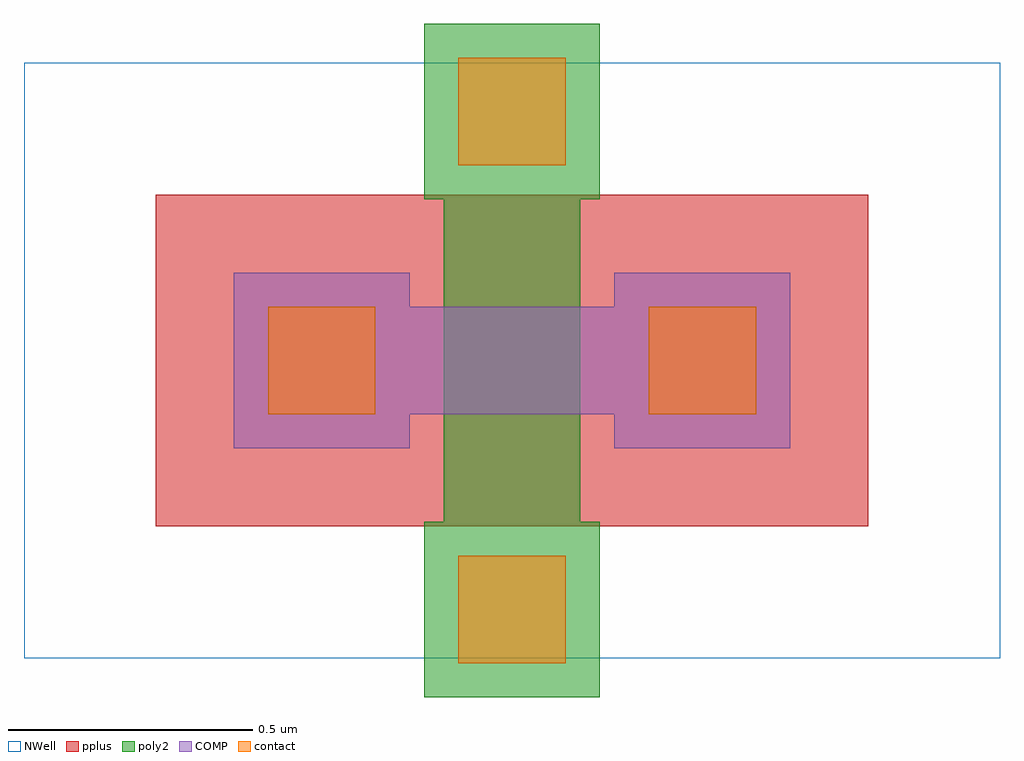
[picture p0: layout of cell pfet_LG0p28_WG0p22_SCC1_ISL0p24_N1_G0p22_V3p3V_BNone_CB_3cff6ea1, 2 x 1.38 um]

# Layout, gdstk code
import gdstk
lib = gdstk.Library(unit=1e-6, precision=1e-09)
def R(c, l, rs):  # rectangles x0, y0, x1, y1
    for r in rs: c.add(gdstk.rectangle(r[:2], r[2:], *l))
NWell = (21, 0)
COMP = (22, 0)
poly2 = (30, 0)
pplus = (31, 0)
contact = (33, 0)

labels_gen_lsnone_pm0p18 = lib.new_cell('labels_gen_LSNone_Pm0p18_0p10999999999999999_Lmetal1_la_6b226d65')

labels_gen_lsnone_p0p600 = lib.new_cell('labels_gen_LSNone_P0p6000000000000001_0p109999999999999_6b8aa2ab')

labels_gen_lsnone_p0p21_ = lib.new_cell('labels_gen_LSNone_P0p21_m0p39999999999999997_Lmetal1_la_8df92a8a')

rectangle_gdsfactorypcom = lib.new_cell('rectangle_gdsfactorypcomponentspshapesprectangle_S0p420_e953cc90')
R(rectangle_gdsfactorypcom, COMP, [(0,0,0.42,0.22)])

c_rectangle_gdsfactorypcom = lib.new_cell('rectangle_gdsfactorypcomponentspshapesprectangle_S0p36__a1e2f17b')
R(c_rectangle_gdsfactorypcom, COMP, [(0,0,0.36,0.36)])

c_rectangle_gdsfactorypcom_ = lib.new_cell('rectangle_gdsfactorypcomponentspshapesprectangle_S0p22__bfea7709')
R(c_rectangle_gdsfactorypcom_, contact, [(0,0,0.22,0.22)])

via_generator_xrm0p36_0_ = lib.new_cell('via_generator_XRm0p36_0_YRm0p07_0p29_VS0p22_0p22_VLcont_60b3f15e')
via_generator_xrm0p36_0_.add(gdstk.Reference(c_rectangle_gdsfactorypcom_, (-0.29,0)))

c_rectangle_gdsfactorypcom__ = lib.new_cell('rectangle_gdsfactorypcomponentspshapesprectangle_S0p339_7cf635e5')
R(c_rectangle_gdsfactorypcom__, COMP, [(0,0,0.34,0.34)])

via_stack_xrm0p36_0_yrm0 = lib.new_cell('via_stack_XRm0p36_0_YRm0p07_0p29_ML1_CS0p22_0p22_CE0p07_330c0f76')
via_stack_xrm0p36_0_yrm0.add(gdstk.Reference(via_generator_xrm0p36_0_, (0,0)))
via_stack_xrm0p36_0_yrm0.add(gdstk.Reference(c_rectangle_gdsfactorypcom__, (-0.35,-0.06)))

c_rectangle_gdsfactorypcom___ = lib.new_cell('rectangle_gdsfactorypcomponentspshapesprectangle_S0p28__432ff8e8')
R(c_rectangle_gdsfactorypcom___, poly2, [(0,0,0.28,0.66)])

c_rectangle_gdsfactorypcom____ = lib.new_cell('rectangle_gdsfactorypcomponentspshapesprectangle_S0p360_c50b099a')
R(c_rectangle_gdsfactorypcom____, poly2, [(0,0,0.36,0.36)])

via_generator_xr0_0p36_y = lib.new_cell('via_generator_XR0_0p36_YR0_0p36_VS0p22_0p22_VLcontact_V_b31f4566')
via_generator_xr0_0p36_y.add(gdstk.Reference(c_rectangle_gdsfactorypcom_, (0.07,0.07)))

c_rectangle_gdsfactorypcom_____ = lib.new_cell('rectangle_gdsfactorypcomponentspshapesprectangle_S0p339_f4050e4b')
R(c_rectangle_gdsfactorypcom_____, poly2, [(0,0,0.34,0.34)])

via_stack_xr0_0p36_yr0_0 = lib.new_cell('via_stack_XR0_0p36_YR0_0p36_ML1_CS0p22_0p22_CE0p07_ME0p_3c6a0a25')
via_stack_xr0_0p36_yr0_0.add(gdstk.Reference(via_generator_xr0_0p36_y, (0,0)))
via_stack_xr0_0p36_yr0_0.add(gdstk.Reference(c_rectangle_gdsfactorypcom_____, (0.01,0.01)))

unnamed_224 = lib.new_cell('Unnamed_224')
unnamed_224.add(gdstk.Reference(c_rectangle_gdsfactorypcom____, (0,0)))
unnamed_224.add(gdstk.Reference(via_stack_xr0_0p36_yr0_0, (0,0)))

c_rectangle_gdsfactorypcom______ = lib.new_cell('rectangle_gdsfactorypcomponentspshapesprectangle_S1p460_596059f5')
R(c_rectangle_gdsfactorypcom______, pplus, [(0,0,1.46,0.68)])

unnamed_223 = lib.new_cell('Unnamed_223')
unnamed_223.add(gdstk.Reference(rectangle_gdsfactorypcom, (0,0)))
r = gdstk.Reference(c_rectangle_gdsfactorypcom, (-0.36,-0.07)); r.repetition = gdstk.Repetition(2, 1, v1=(0.78,0), v2=(0,0)); unnamed_223.add(r)
r = gdstk.Reference(via_stack_xrm0p36_0_yrm0, (0,0)); r.repetition = gdstk.Repetition(2, 1, v1=(0.78,0), v2=(0,0)); unnamed_223.add(r)
unnamed_223.add(gdstk.Reference(c_rectangle_gdsfactorypcom___, (0.07,-0.22)))
r = gdstk.Reference(unnamed_224, (0.03,-0.58)); r.repetition = gdstk.Repetition(1, 2, v1=(0,0), v2=(0,1.02)); unnamed_223.add(r)
unnamed_223.add(gdstk.Reference(c_rectangle_gdsfactorypcom______, (-0.52,-0.23)))

c_rectangle_gdsfactorypcom_______ = lib.new_cell('rectangle_gdsfactorypcomponentspshapesprectangle_S2_1p2_c74ca3fe')
R(c_rectangle_gdsfactorypcom_______, NWell, [(0,0,2,1.22)])

pfet_deep_nwell_d0_p0_es = lib.new_cell('pfet_deep_nwell_D0_P0_ES1p1400000000000001_0p36_EXm0p36_e0c65c09')
pfet_deep_nwell_d0_p0_es.add(gdstk.Reference(c_rectangle_gdsfactorypcom_______, (-0.79,-0.5)))

pfet_lg0p28_wg0p22_scc1_ = lib.new_cell('pfet_LG0p28_WG0p22_SCC1_ISL0p24_N1_G0p22_V3p3V_BNone_CB_3cff6ea1')
pfet_lg0p28_wg0p22_scc1_.add(gdstk.Reference(labels_gen_lsnone_pm0p18, (0,0)))
pfet_lg0p28_wg0p22_scc1_.add(gdstk.Reference(labels_gen_lsnone_p0p600, (0,0)))
pfet_lg0p28_wg0p22_scc1_.add(gdstk.Reference(labels_gen_lsnone_p0p21_, (0,0)))
pfet_lg0p28_wg0p22_scc1_.add(gdstk.Reference(unnamed_223, (0,0)))
pfet_lg0p28_wg0p22_scc1_.add(gdstk.Reference(pfet_deep_nwell_d0_p0_es, (0,0)))

lib.write_gds('pfet_LG0p28_WG0p22_SCC1_ISL0p24_N1_G0p22_V3p3V_BNone_CB_3cff6ea1.gds')
